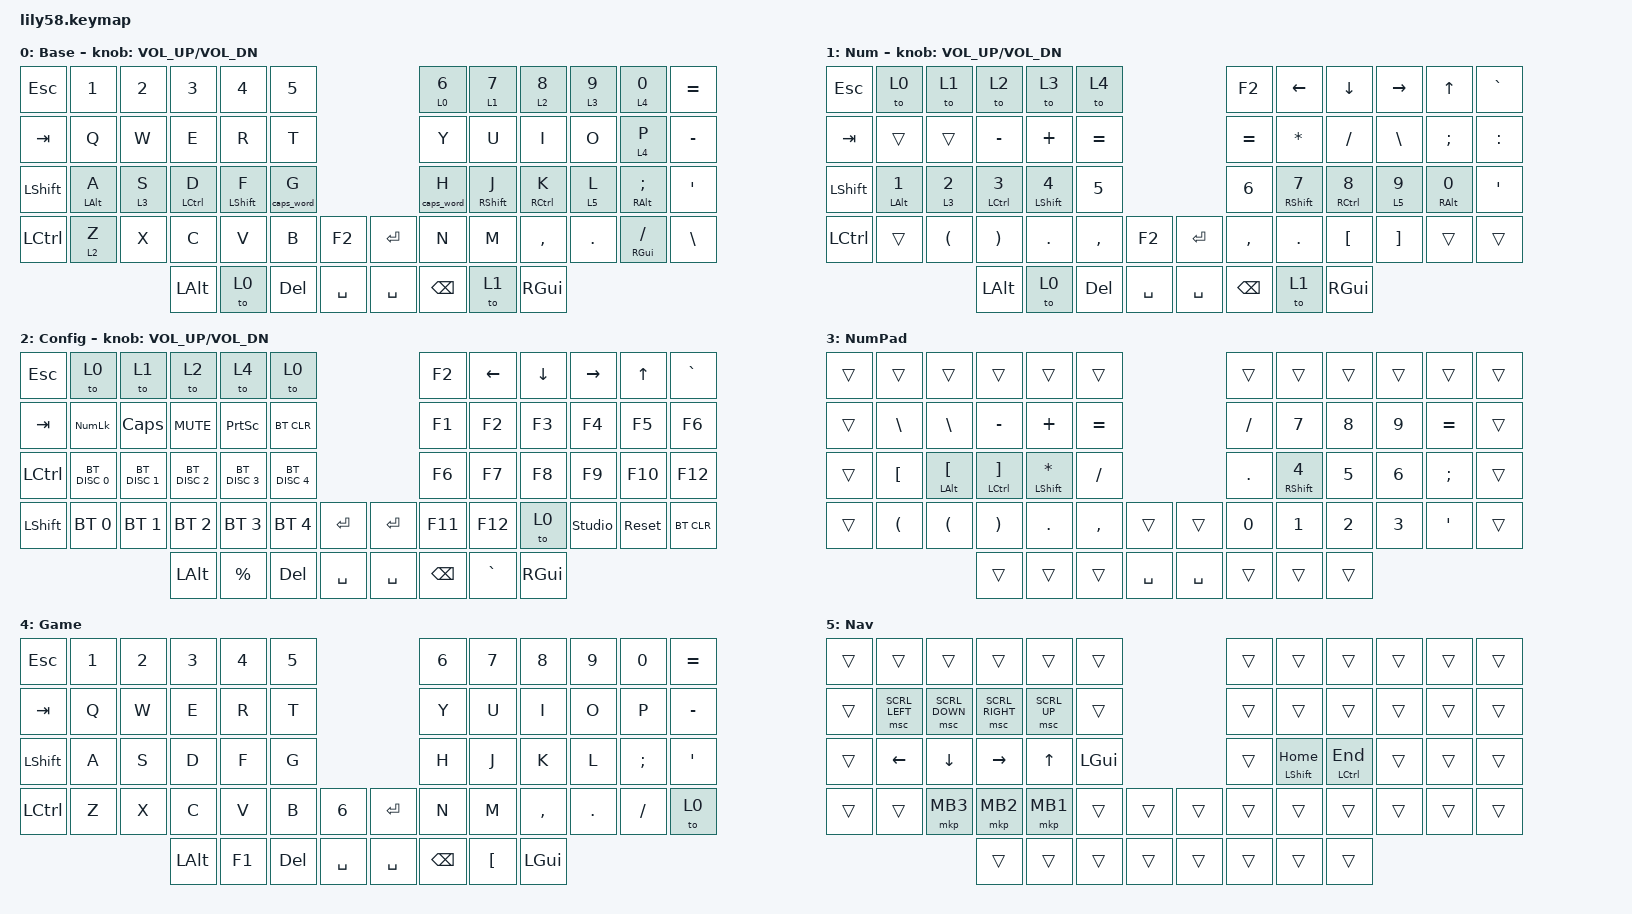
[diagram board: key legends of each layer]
/*
 * Copyright (c) 2020 The ZMK Contributors
 *
 * SPDX-License-Identifier: MIT
 */

#include <behaviors.dtsi>
#include <dt-bindings/zmk/bt.h>
#include <dt-bindings/zmk/keys.h>
#include <dt-bindings/zmk/pointing.h>

&mt {
    tapping-term-ms = <350>;
    flavor = "tap-preferred";
};

/ {
    behaviors {
        layertap: layertap {
            compatible = "zmk,behavior-hold-tap";
            label = "LAYERTAP";
            bindings = <&mo>, <&kp>;

            #binding-cells = <2>;
            tapping-term-ms = <350>;
            flavor = "tap-preferred";
        };

        layuh: layuh {
            compatible = "zmk,behavior-hold-tap";
            label = "LAYUH";
            bindings = <&to>, <&kp>;

            #binding-cells = <2>;
            tapping-term-ms = <500>;
            flavor = "tap-preferred";
            quick-tap-ms = <500>;
            require-prior-idle-ms = <500>;
        };

        capshold: capshold {
            compatible = "zmk,behavior-hold-tap";
            label = "CAPSHOLD";
            bindings = <&caps_word>, <&kp>;

            #binding-cells = <2>;
            tapping-term-ms = <350>;
            flavor = "tap-preferred";
        };
    };

    combos {
        compatible = "zmk,combos";

        f2 {
            bindings = <&kp F2>;
            key-positions = <38 39>;
            layers = <0 1 3>;
            require-prior-idle-ms = <50>;
        };

        enter {
            bindings = <&kp RETURN>;
            key-positions = <26 27>;
            layers = <0 1 3>;
            require-prior-idle-ms = <50>;
        };

        space {
            bindings = <&kp SPACE>;
            key-positions = <32 33>;
            layers = <0 1 3>;
            require-prior-idle-ms = <50>;
        };

        tilde-grave {
            bindings = <&kp GRAVE>;
            key-positions = <48 47>;
            layers = <0 1 3>;
            require-prior-idle-ms = <50>;
        };

        tab {
            bindings = <&kp TAB>;
            key-positions = <47 46>;
            require-prior-idle-ms = <50>;
            layers = <0 1 3>;
        };

        del {
            bindings = <&kp DELETE>;
            key-positions = <14 15>;
            require-prior-idle-ms = <50>;
            layers = <0 1 3>;
        };

        backspace {
            bindings = <&kp BACKSPACE>;
            key-positions = <21 20>;
            require-prior-idle-ms = <50>;
            layers = <0 1 3>;
        };

        baselayer {
            bindings = <&to 0>;
            key-positions = <26 25>;
            require-prior-idle-ms = <100>;
            layers = <0 1 3>;
        };

        numlayer {
            bindings = <&to 1>;
            key-positions = <34 33>;
            require-prior-idle-ms = <100>;
            layers = <0 1 3>;
        };

        esc {
            bindings = <&kp ESCAPE>;
            key-positions = <13 14>;
            require-prior-idle-ms = <50>;
            layers = <0 1 3>;
        };
    };

    keymap {
        compatible = "zmk,keymap";

        Base {
            // ------------------------------------------------------------------------------------------------------------
            // |  ESC  |  1  |  2  |  3   |  4   |  5   |                   |  6   |  7    |  8    |  9   |   0   |   `   |
            // |  TAB  |  Q  |  W  |  E   |  R   |  T   |                   |  Y   |  U    |  I    |  O   |   P   |   -   |
            // |  CTRL |  A  |  S  |  D   |  F   |  G   |                   |  H   |  J    |  K    |  L   |   ;   |   '   |
            // | SHIFT |  Z  |  X  |  C   |  V   |  B   |   "["  |  |  "]"  |  N   |  M    |  ,    |  .   |   /   | SHIFT |
            //                     | ALT  | GUI  | LOWER|  SPACE |  | ENTER | RAISE| BSPC  | GUI   |

            display-name = "Base";
            bindings = <
&kp ESC           &kp NUMBER_1    &kp NUMBER_2   &kp NUMBER_3        &kp NUMBER_4      &kp N5                                 &layuh 0 NUMBER_6  &layuh 1 N7        &layuh 2 N8          &layuh 3 N9    &layuh 4 N0              &kp EQUAL
&kp TAB           &kp Q           &kp W          &kp E               &kp R             &kp T                                  &kp Y              &kp U              &kp I                &kp O          &layuh 4 P               &kp MINUS
&kp LEFT_SHIFT    &mt LEFT_ALT A  &layertap 3 S  &mt LEFT_CONTROL D  &mt LEFT_SHIFT F  &capshold 0 G                          &capshold 0 H      &mt RIGHT_SHIFT J  &mt RIGHT_CONTROL K  &layertap 5 L  &mt RIGHT_ALT SEMICOLON  &kp SQT
&kp LEFT_CONTROL  &layuh 2 Z      &kp X          &kp C               &kp V             &kp B          &kp F2       &kp RET    &kp N              &kp M              &kp COMMA            &kp DOT        &mt RIGHT_GUI SLASH      &kp BACKSLASH
                                                 &kp LALT            &to 0             &kp DELETE     &kp SPACE    &kp SPACE  &kp BACKSPACE      &to 1              &kp RGUI
            >;

            sensor-bindings = <&inc_dec_kp C_VOL_UP C_VOL_DN>;
        };

        Num {
            // ------------------------------------------------------------------------------------------------------------
            // |  ESC  |  1  |  2  |  3   |  4   |  5   |                   |  6   |  7    |  8    |  9   |   0   |   `   |
            // |  TAB  |  Q  |  W  |  E   |  R   |  T   |                   |  Y   |  U    |  I    |  O   |   P   |   -   |
            // |  CTRL |  A  |  S  |  D   |  F   |  G   |                   |  H   |  J    |  K    |  L   |   ;   |   '   |
            // | SHIFT |  Z  |  X  |  C   |  V   |  B   |   "["  |  |  "]"  |  N   |  M    |  ,    |  .   |   /   | SHIFT |
            //                     | ALT  | GUI  | LOWER|  SPACE |  | ENTER | RAISE| BSPC  | GUI   |

            display-name = "Num";
            bindings = <
&kp ESC           &to 0                  &to 1                 &to 2                      &to 3                    &to 4                               &kp F2         &kp LEFT            &kp DOWN              &kp RIGHT          &kp UP_ARROW            &kp GRAVE
&kp TAB           &trans                 &trans                &kp MINUS                  &kp PLUS                 &kp EQUAL                           &kp EQUAL      &kp ASTERISK        &kp SLASH             &kp BACKSLASH      &kp SEMICOLON           &kp COLON
&kp LEFT_SHIFT    &mt LEFT_ALT NUMBER_1  &layertap 3 NUMBER_2  &mt LEFT_CONTROL NUMBER_3  &mt LEFT_SHIFT NUMBER_4  &kp N5                              &kp NUMBER_6   &mt RIGHT_SHIFT N7  &mt RIGHT_CONTROL N8  &lt 5 N9           &mt RIGHT_ALT NUMBER_0  &kp SQT
&kp LEFT_CONTROL  &trans                 &kp LEFT_PARENTHESIS  &kp RIGHT_PARENTHESIS      &kp PERIOD               &kp COMMA   &kp F2       &kp RET    &kp COMMA      &kp PERIOD          &kp LEFT_BRACKET      &kp RIGHT_BRACKET  &trans                  &trans
                                                               &kp LALT                   &to 0                    &kp DELETE  &kp SPACE    &kp SPACE  &kp BACKSPACE  &to 1               &kp RGUI
            >;

            sensor-bindings = <&inc_dec_kp C_VOL_UP C_VOL_DN>;
        };

        Config {
            // ------------------------------------------------------------------------------------------------------------
            // |  ESC  |  1  |  2  |  3   |  4   |  5   |                   |  6   |  7    |  8    |  9   |   0   |   `   |
            // |  TAB  |  Q  |  W  |  E   |  R   |  T   |                   |  Y   |  U    |  I    |  O   |   P   |   -   |
            // |  CTRL |  A  |  S  |  D   |  F   |  G   |                   |  H   |  J    |  K    |  L   |   ;   |   '   |
            // | SHIFT |  Z  |  X  |  C   |  V   |  B   |   "["  |  |  "]"  |  N   |  M    |  ,    |  .   |   /   | SHIFT |
            //                     | ALT  | GUI  | LOWER|  SPACE |  | ENTER | RAISE| BSPC  | GUI   |

            display-name = "Config";
            bindings = <
&kp ESC    &to 0           &to 1          &to 2          &to 4            &to 0                                  &kp F2         &kp LEFT   &kp DOWN  &kp RIGHT       &kp UP_ARROW  &kp GRAVE
&kp TAB    &kp KP_NUMLOCK  &kp CAPSLOCK   &kp C_MUTE     &kp PRINTSCREEN  &bt BT_CLR                             &kp F1         &kp F2     &kp F3    &kp F4          &kp F5        &kp F6
&kp LCTRL  &bt BT_DISC 0   &bt BT_DISC 1  &bt BT_DISC 2  &bt BT_DISC 3    &bt BT_DISC 4                          &kp F6         &kp F7     &kp F8    &kp F9          &kp F10       &kp F12
&kp LSHFT  &bt BT_SEL 0    &bt BT_SEL 1   &bt BT_SEL 2   &bt BT_SEL 3     &bt BT_SEL 4   &kp RET      &kp RET    &kp F11        &kp F12    &to 0     &studio_unlock  &sys_reset    &bt BT_CLR
                                          &kp LALT       &kp PERCENT      &kp DELETE     &kp SPACE    &kp SPACE  &kp BACKSPACE  &kp GRAVE  &kp RGUI
            >;

            sensor-bindings = <&inc_dec_kp C_VOL_UP C_VOL_DN>;
        };

        NumPad {
            bindings = <
&trans  &trans                &trans                     &trans                          &trans                   &trans                             &trans      &trans                    &trans  &trans  &trans          &trans
&trans  &kp BACKSLASH         &kp BACKSLASH              &kp MINUS                       &kp PLUS                 &kp EQUAL                          &kp FSLH    &kp N7                    &kp N8  &kp N9  &kp EQUAL       &trans
&trans  &kp LEFT_BRACKET      &mt LEFT_ALT LEFT_BRACKET  &mt LEFT_CONTROL RIGHT_BRACKET  &mt LEFT_SHIFT ASTERISK  &kp SLASH                          &kp PERIOD  &mt RIGHT_SHIFT NUMBER_4  &kp N5  &kp N6  &kp SEMICOLON   &trans
&trans  &kp LEFT_PARENTHESIS  &kp LEFT_PARENTHESIS       &kp RIGHT_PARENTHESIS           &kp PERIOD               &kp COMMA  &trans       &trans     &kp N0      &kp N1                    &kp N2  &kp N3  &kp APOSTROPHE  &trans
                                                         &trans                          &trans                   &trans     &kp SPACE    &kp SPACE  &trans      &trans                    &trans
            >;

            label = "NumPad";
        };

        Game {
            bindings = <
&kp ESC    &kp N1  &kp N2  &kp N3    &kp N4  &kp N5                           &kp N6    &kp N7    &kp N8     &kp N9   &kp N0    &kp EQUAL
&kp TAB    &kp Q   &kp W   &kp E     &kp R   &kp T                            &kp Y     &kp U     &kp I      &kp O    &kp P     &kp MINUS
&kp LSHFT  &kp A   &kp S   &kp D     &kp F   &kp G                            &kp H     &kp J     &kp K      &kp L    &kp SEMI  &kp SQT
&kp LCTRL  &kp Z   &kp X   &kp C     &kp V   &kp B    &kp N6       &kp RET    &kp N     &kp M     &kp COMMA  &kp DOT  &kp FSLH  &to 0
                           &kp LALT  &kp F1  &kp DEL  &kp SPACE    &kp SPACE  &kp BSPC  &kp LBKT  &kp LGUI
            >;

            label = "Game";
        };

        Nav {
            bindings = <
&trans  &trans          &trans          &trans           &trans        &trans                          &trans  &trans               &trans                &trans  &trans  &trans
&trans  &msc SCRL_LEFT  &msc SCRL_DOWN  &msc SCRL_RIGHT  &msc SCRL_UP  &trans                          &trans  &trans               &trans                &trans  &trans  &trans
&trans  &kp LEFT_ARROW  &kp DOWN_ARROW  &kp RIGHT_ARROW  &kp UP_ARROW  &kp LEFT_GUI                    &trans  &mt LEFT_SHIFT HOME  &mt LEFT_CONTROL END  &trans  &trans  &trans
&trans  &trans          &mkp MB3        &mkp MB2         &mkp MB1      &trans        &trans    &trans  &trans  &trans               &trans                &trans  &trans  &trans
                                        &trans           &trans        &trans        &trans    &trans  &trans  &trans               &trans
            >;

            label = "Nav";
        };
    };
};
